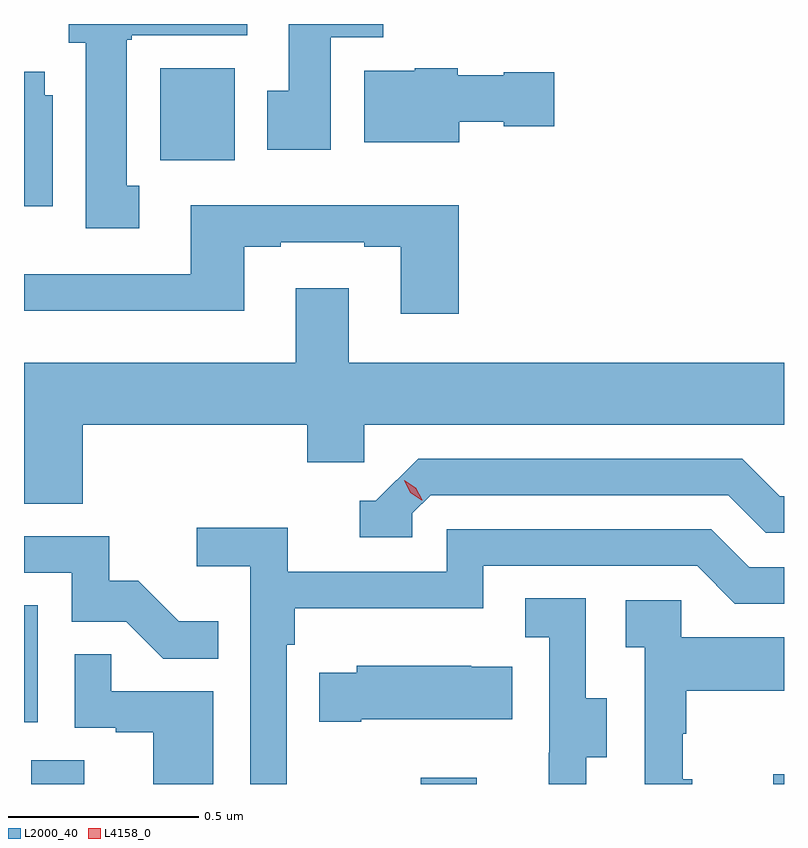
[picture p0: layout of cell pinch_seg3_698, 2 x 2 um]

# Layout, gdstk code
import gdstk
lib = gdstk.Library(unit=1e-6, precision=1e-09)
def R(c, l, rs):  # rectangles x0, y0, x1, y1
    for r in rs: c.add(gdstk.rectangle(r[:2], r[2:], *l))
def P(c, l, *ps):  # polygons
    for p in ps: c.add(gdstk.Polygon(p, *l))
L2000_40 = (2000, 40)
L4158_0 = (4158, 0)

pinch_seg3_698 = lib.new_cell('pinch_seg3_698')
R(pinch_seg3_698, L2000_40, [(1125.173,673.331,1125.313,673.394), (1126.198,673.331,1126.345,673.348), (1127.126,673.331,1127.154,673.357), (1125.154,673.494,1125.19,673.801), (1125.512,674.972,1125.709,675.214)])
P(pinch_seg3_698, L2000_40, [(1125.457,674.906),(1125.424,674.906),(1125.424,675.289),(1125.438,675.289),(1125.438,675.302),(1125.742,675.302),(1125.742,675.331),(1125.272,675.331),(1125.272,675.282),(1125.317,675.282),(1125.317,674.793),(1125.457,674.793)],
  [(1125.961,675.296),(1126.1,675.296),(1126.1,675.331),(1125.851,675.331),(1125.851,675.156),(1125.794,675.156),(1125.794,675),(1125.961,675)],
  [(1126.3,675.074),(1126.416,675.074),(1126.416,675.062),(1126.549,675.062),(1126.549,675.204),(1126.416,675.204),(1126.416,675.196),(1126.296,675.196),(1126.296,675.214),(1126.182,675.214),(1126.182,675.208),(1126.049,675.208),(1126.049,675.02),(1126.3,675.02)],
  [(1125.229,675.144),(1125.208,675.144),(1125.208,675.205),(1125.154,675.205),(1125.154,674.852),(1125.229,674.852)],
  [(1126.298,674.854),(1125.593,674.854),(1125.593,674.673),(1125.154,674.673),(1125.154,674.576),(1125.733,674.576),(1125.733,674.745),(1125.829,674.745),(1125.829,674.757),(1126.049,674.757),(1126.049,674.745),(1126.145,674.745),(1126.145,674.568),(1126.298,674.568)],
  [(1125.308,674.276),(1125.899,674.276),(1125.899,674.178),(1126.05,674.178),(1126.05,674.276),(1127.154,674.276),(1127.154,674.44),(1126.009,674.44),(1126.009,674.635),(1125.869,674.635),(1125.869,674.44),(1125.154,674.44),(1125.154,674.068),(1125.308,674.068)],
  [(1126.176,674.043),(1126.224,674.091),(1127.007,674.091),(1127.106,673.992),(1127.154,673.992),(1127.154,674.088),(1127.143,674.088),(1127.044,674.187),(1126.191,674.187),(1126.08,674.076),(1126.037,674.076),(1126.037,673.98),(1126.176,673.98)],
  [(1125.846,673.697),(1125.866,673.697),(1125.866,673.793),(1126.362,673.793),(1126.362,673.905),(1126.926,673.905),(1127.025,673.806),(1127.154,673.806),(1127.154,673.902),(1127.062,673.902),(1126.963,674.001),(1126.266,674.001),(1126.266,673.89),(1125.848,673.89),(1125.848,674.006),(1125.609,674.006),(1125.609,673.904),(1125.75,673.904),(1125.75,673.331),(1125.846,673.331)],
  [(1125.665,673.759),(1125.561,673.759),(1125.454,673.866),(1125.378,673.866),(1125.378,673.983),(1125.154,673.983),(1125.154,673.887),(1125.279,673.887),(1125.279,673.758),(1125.423,673.758),(1125.521,673.66),(1125.665,673.66)],
  [(1126.633,673.402),(1126.687,673.402),(1126.687,673.557),(1126.632,673.557),(1126.632,673.82),(1126.473,673.82),(1126.473,673.717),(1126.536,673.717),(1126.536,673.413),(1126.535,673.413),(1126.535,673.331),(1126.633,673.331)],
  [(1126.912,673.344),(1126.887,673.344),(1126.887,673.463),(1126.897,673.463),(1126.897,673.577),(1127.154,673.577),(1127.154,673.717),(1126.884,673.717),(1126.884,673.815),(1126.737,673.815),(1126.737,673.691),(1126.788,673.691),(1126.788,673.331),(1126.912,673.331)],
  [(1125.652,673.575),(1125.383,673.575),(1125.383,673.673),(1125.288,673.673),(1125.288,673.479),(1125.395,673.479),(1125.395,673.467),(1125.494,673.467),(1125.494,673.331),(1125.652,673.331)],
  [(1126.042,673.502),(1126.439,673.502),(1126.439,673.639),(1126.331,673.639),(1126.331,673.642),(1126.029,673.642),(1126.029,673.624),(1125.931,673.624),(1125.931,673.495),(1126.042,673.495)])
P(pinch_seg3_698, L4158_0, [(1126.201,674.078),(1126.171,674.098),(1126.154,674.13),(1126.154,674.13),(1126.155,674.13),(1126.185,674.111),(1126.202,674.079),(1126.202,674.078)])

lib.write_gds('pinch_seg3_698.gds')
